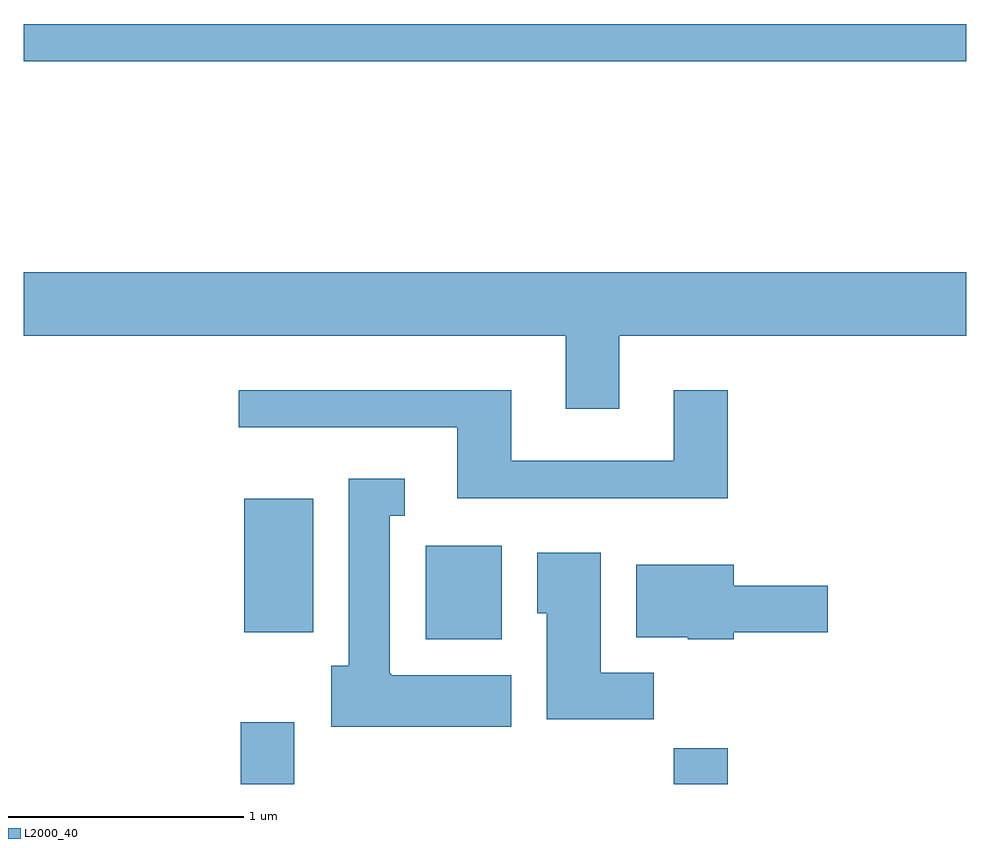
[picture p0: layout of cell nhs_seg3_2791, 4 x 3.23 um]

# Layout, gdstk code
import gdstk
lib = gdstk.Library(unit=1e-6, precision=1e-09)
def R(c, l, rs):  # rectangles x0, y0, x1, y1
    for r in rs: c.add(gdstk.rectangle(r[:2], r[2:], *l))
def P(c, l, *ps):  # polygons
    for p in ps: c.add(gdstk.Polygon(p, *l))
L2000_40 = (2000, 40)

nhs_seg3_2791 = lib.new_cell('nhs_seg3_2791')
R(nhs_seg3_2791, L2000_40, [(268.531,1121.892,268.759,1122.154), (270.371,1121.892,270.599,1122.044), (269.316,1122.506,269.639,1122.904), (268.546,1122.536,268.839,1123.104), (267.611,1124.961,271.611,1125.119)])
P(nhs_seg3_2791, L2000_40, [(270.139,1123.796),(271.611,1123.796),(271.611,1124.064),(267.611,1124.064),(267.611,1123.796),(269.911,1123.796),(269.911,1123.486),(270.139,1123.486)],
  [(270.599,1123.564),(270.371,1123.564),(270.371,1123.264),(269.679,1123.264),(269.679,1123.564),(268.523,1123.564),(268.523,1123.406),(269.451,1123.406),(269.451,1123.106),(270.599,1123.106)],
  [(269.679,1122.354),(269.17,1122.354),(269.17,1122.36),(269.164,1122.36),(269.164,1123.031),(269.228,1123.031),(269.228,1123.189),(268.991,1123.189),(268.991,1122.394),(268.916,1122.394),(268.916,1122.136),(269.679,1122.136)],
  [(270.284,1122.364),(270.059,1122.364),(270.059,1122.874),(269.791,1122.874),(269.791,1122.616),(269.831,1122.616),(269.831,1122.166),(270.284,1122.166)],
  [(270.624,1122.536),(271.024,1122.536),(271.024,1122.734),(270.624,1122.734),(270.624,1122.824),(270.211,1122.824),(270.211,1122.516),(270.43,1122.516),(270.43,1122.506),(270.624,1122.506)])

lib.write_gds('nhs_seg3_2791.gds')
